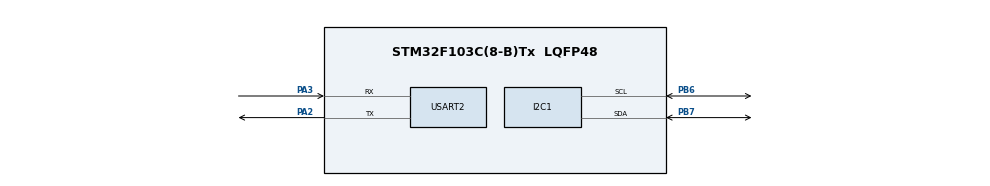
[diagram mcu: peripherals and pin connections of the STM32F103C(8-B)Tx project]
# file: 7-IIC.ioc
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Mcu.Family=STM32F1
Mcu.Name=STM32F103C(8-B)Tx
Mcu.Package=LQFP48
NVIC.I2C1_ER_IRQn=true\:0\:0\:false\:false\:true\:true\:true\:true
NVIC.I2C1_EV_IRQn=true\:0\:0\:false\:false\:true\:true\:true\:true
NVIC.PriorityGroup=NVIC_PRIORITYGROUP_4
PA13.Mode=Serial_Wire
PA13.Signal=SYS_JTMS-SWDIO
PA14.Mode=Serial_Wire
PA14.Signal=SYS_JTCK-SWCLK
PA2.Mode=Asynchronous
PA2.Signal=USART2_TX
PA3.Mode=Asynchronous
PA3.Signal=USART2_RX
PB6.Mode=I2C
PB6.Signal=I2C1_SCL
PB7.Mode=I2C
PB7.Signal=I2C1_SDA
ProjectManager.HeapSize=0x200
ProjectManager.StackSize=0x400
ProjectManager.TargetToolchain=STM32CubeIDE
RCC.APB1Freq_Value=8000000
RCC.APB2Freq_Value=8000000
USART2.VirtualMode=VM_ASYNC
board=custom

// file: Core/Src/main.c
/* USER CODE BEGIN Header */
/**
  ******************************************************************************
  * @file           : main.c
  * @brief          : Main program body
  ******************************************************************************
  * @attention
  *
  * Copyright (c) 2025 STMicroelectronics.
  * All rights reserved.
  *
  * This software is licensed under terms that can be found in the LICENSE file
  * in the root directory of this software component.
  * If no LICENSE file comes with this software, it is provided AS-IS.
  *
  ******************************************************************************
  */
/* USER CODE END Header */
#include "main.h"
#include "i2c.h"
#include "usart.h"
#include "gpio.h"

/* USER CODE BEGIN Includes */
#include "aht20.h"
#include "stdio.h"
#include "string.h"
/* USER CODE END Includes */

/* USER CODE BEGIN PV */
//0 為初始狀態，發測量指令 1 為在發送測量指令 2 為測量指令發送完 等待75毫秒後才讀資料 3 是讀取中 4 是讀取完，解析資料並印出來
uint8_t aht20State = 0;
/* USER CODE END PV */

void SystemClock_Config(void);

int main(void)
{

  /* MCU Configuration--------------------------------------------------------*/

  /* Reset of all peripherals, Initializes the Flash interface and the Systick. */
  HAL_Init();

  /* Configure the system clock */
  SystemClock_Config();

  /* Initialize all configured peripherals */
  MX_GPIO_Init();
  MX_I2C1_Init();
  MX_USART2_UART_Init();
  /* USER CODE BEGIN 2 */
  AHT20_init();

  float tmp, humi;
  char message[50];
  /* USER CODE END 2 */

  /* Infinite loop */
  /* USER CODE BEGIN WHILE */
  while (1)
  {
	  if(aht20State == 0){
		  AHT20_Measure();
		  aht20State = 1;
	  }else if(aht20State == 2){
		  HAL_Delay(75);
		  AHT20_get();
		  aht20State = 3;
	  }else if(aht20State == 4){
		  AHT20_Analysis(&tmp, &humi);
		  sprintf(message, "溫度 : %.1f 度, 濕度 : %.1f %% \r\n", tmp, humi);
		  HAL_UART_Transmit(&huart2, (uint8_t *)message, strlen(message), HAL_MAX_DELAY);

		  HAL_Delay(1000);
		  aht20State = 0;
	  }

//	  AHT20_Read(&tmp, &humi);
//	  sprintf(message, "溫度 : %.1f 度, 濕度 : %.1f %% \r\n", tmp, humi);
//	  HAL_UART_Transmit(&huart2, (uint8_t *)message, strlen(message), HAL_MAX_DELAY);
//	  HAL_Delay(1000);
    /* USER CODE END WHILE */

  }
}

void SystemClock_Config(void)
{
  RCC_OscInitTypeDef RCC_OscInitStruct = {0};
  RCC_ClkInitTypeDef RCC_ClkInitStruct = {0};

  /** Initializes the RCC Oscillators according to the specified parameters
  * in the RCC_OscInitTypeDef structure.
  */
  RCC_OscInitStruct.OscillatorType = RCC_OSCILLATORTYPE_HSI;
  RCC_OscInitStruct.HSIState = RCC_HSI_ON;
  RCC_OscInitStruct.HSICalibrationValue = RCC_HSICALIBRATION_DEFAULT;
  RCC_OscInitStruct.PLL.PLLState = RCC_PLL_NONE;
  if (HAL_RCC_OscConfig(&RCC_OscInitStruct) != HAL_OK)
  {
    Error_Handler();
  }

  /** Initializes the CPU, AHB and APB buses clocks
  */
  RCC_ClkInitStruct.ClockType = RCC_CLOCKTYPE_HCLK|RCC_CLOCKTYPE_SYSCLK
                              |RCC_CLOCKTYPE_PCLK1|RCC_CLOCKTYPE_PCLK2;
  RCC_ClkInitStruct.SYSCLKSource = RCC_SYSCLKSOURCE_HSI;
  RCC_ClkInitStruct.AHBCLKDivider = RCC_SYSCLK_DIV1;
  RCC_ClkInitStruct.APB1CLKDivider = RCC_HCLK_DIV1;
  RCC_ClkInitStruct.APB2CLKDivider = RCC_HCLK_DIV1;

  if (HAL_RCC_ClockConfig(&RCC_ClkInitStruct, FLASH_LATENCY_0) != HAL_OK)
  {
    Error_Handler();
  }
}

void Error_Handler(void)
{
  __disable_irq();
  while (1)
  {
  }
}
